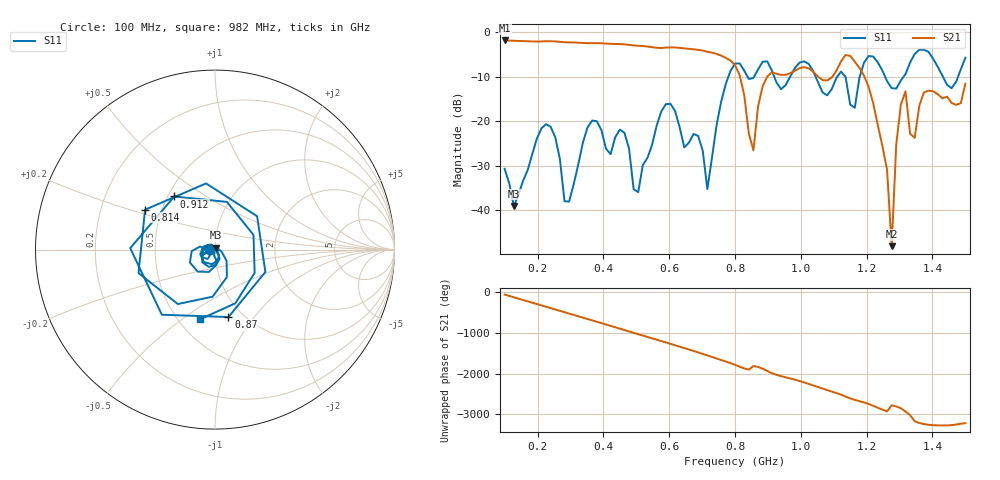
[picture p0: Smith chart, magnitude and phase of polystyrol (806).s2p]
! NanoVNA-App
! Date: 2025-09-25 15:36:09
! Start: 100MHz Stop: 1,5GHz Points: 101
! S-Parameter data: F S11 S21 S12 S22
# Hz S RI R 50
!  Frequency  S11_Real  S11_Imag  S21_Real  S21_Imag  S12_Real  S12_Imag  S22_Real  S22_Imag
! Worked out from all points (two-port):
!   101 points, 100 MHz to 1.5 GHz, reference 50 ohm
!   highest |S21| = -1.80 dB at 100 MHz (marker M1); lowest = -48.1 dB at 1.276 GHz (marker M2)
!   |S21| within 3 dB of the highest: start of sweep to 742.9 MHz
!   lowest |S11| = -39.1 dB at 128 MHz (marker M3), VSWR 1.02, Z = 50.3 + j1.06 ohm
!   |S11| at or under -10 dB: start of sweep to 779.7 MHz; 1.045 GHz to 1.111 GHz (65.32 MHz wide, 6.06 % of centre); 1.136 GHz to 1.179 GHz (43.09 MHz wide, 3.72 % of centre) (the widest 3 of 7)
!   S12 and S22 are empty: the file has one direction only
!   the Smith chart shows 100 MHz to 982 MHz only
!   S11 on the Smith chart (normalised r, x): 100 MHz: 0.94, -0.01; 814 MHz: 0.40, +0.22; 870 MHz: 0.86, -0.75; 912 MHz: 0.54, +0.37; 982 MHz: 0.63, -0.59
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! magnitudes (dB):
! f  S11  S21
! 100 MHz  -30.7  -1.8
! 128 MHz  -39.1  -1.9
! 212 MHz  -21.6  -2.0
! 282 MHz  -38.0  -2.2
! 338 MHz  -24.8  -2.4
! 506 MHz  -36.0  -3.0
! 576 MHz  -17.8  -3.5
! 716 MHz  -35.3  -4.3
! 800 MHz  -7.0  -7.4
! 814 MHz  -7.0  -9.6
! 856 MHz  -10.3  -26.6
! 870 MHz  -8.3  -16.7
! 912 MHz  -8.6  -9.0
! 982 MHz  -8.0  -8.6
! 1.038 GHz  -8.8  -8.9
! 1.192 GHz  -6.8  -9.7
! 1.262 GHz  -11.0  -30.9
! 1.276 GHz  -12.5  -48.1
! 1.29 GHz  -12.6  -25.2
! 1.318 GHz  -9.4  -13.3
! 1.346 GHz  -4.8  -23.7
! 1.5 GHz  -5.7  -11.5
